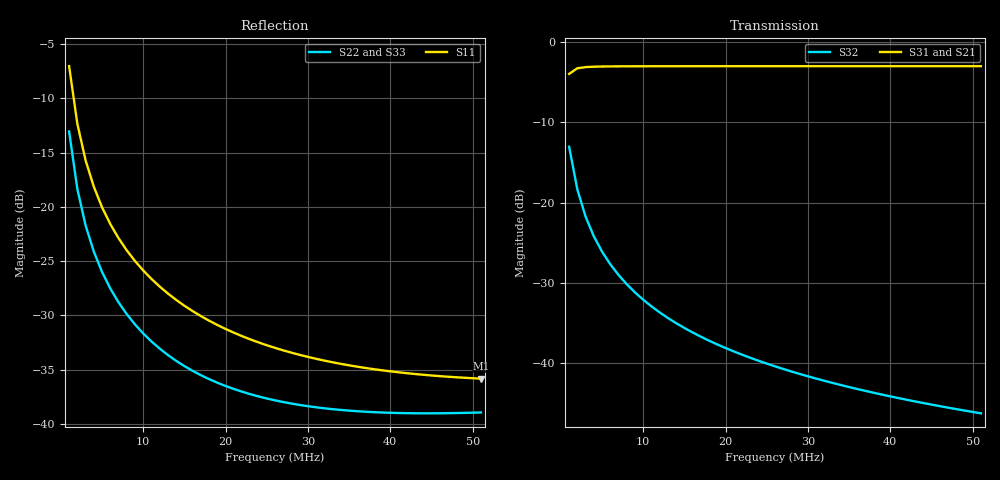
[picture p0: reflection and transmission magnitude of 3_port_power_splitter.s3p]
# MHz S RI R 50
! S-Parameters data
! Freq  reS11  imS11  reS12  imS12  reS13  imS13
!  reS21  imS21  reS22  imS22  reS23  imS23
!  reS31  imS31  reS32  imS32  reS33  imS33
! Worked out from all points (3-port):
!   51 points, 1 MHz to 51 MHz, reference 50 ohm
!   strongest paths, dB at 1 MHz, 13 MHz, 26 MHz, 39 MHz, 51 MHz:
!     S31: -4.0, -3.0, -3.0, -3.0, -3.0
!     S21: -4.0, -3.0, -3.0, -3.0, -3.0
!     S32: -13.0, -34.4, -40.4, -43.9, -46.2
!   lowest |S11| = -35.8 dB at 51 MHz (marker M1), VSWR 1.03, Z = 50 + j1.62 ohm
!   |S11| at or under -10 dB: 1.56 MHz to end of sweep
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1  -0.1983 0.3989  -0.5669 -0.2819  0.5669 0.2819
   -0.5669 -0.2819  -0.0992 0.1995  0.0992 -0.1994
   0.5669 0.2819  0.0992 -0.1994  -0.0992 0.1995
2  -0.0582 0.2345  -0.6659 -0.1654  0.6659 0.1654
   -0.6659 -0.1654  -0.0291 0.1174  0.0291 -0.1171
   0.6659 0.1654  0.0291 -0.1171  -0.0291 0.1174
3  -0.0267 0.1617  -0.6882 -0.1138  0.6882 0.1138
   -0.6882 -0.1138  -0.0134 0.0811  0.0134 -0.0807
   0.6882 0.1138  0.0134 -0.0807  -0.0134 0.0811
4  -0.0152 0.123  -0.6963 -0.0862  0.6963 0.0862
   -0.6963 -0.0862  -0.00763 0.0617  0.00763 -0.0612
   0.6963 0.0862  0.00763 -0.0612  -0.00763 0.0617
6  -0.0068 0.0831  -0.7023 -0.0577  0.7023 0.0577
   -0.7023 -0.0577  -0.00342 0.0419  0.00342 -0.0412
   0.7023 0.0577  0.00342 -0.0412  -0.00342 0.0419
8  -0.00382 0.0629  -0.7044 -0.0431  0.7044 0.0431
   -0.7044 -0.0431  -0.00194 0.032  0.00194 -0.031
   0.7044 0.0431  0.00194 -0.031  -0.00194 0.032
15  -0.00107 0.035  -0.7063 -0.0221  0.7063 0.0221
    -0.7063 -0.0221  -0.000558 0.0184  0.000562 -0.0166
    0.7063 0.0221  0.000562 -0.0166  -0.000558 0.0184
26  -0.00033 0.0224  -0.7068 -0.0112  0.7068 0.0112
    -0.7068 -0.0112  -0.000185 0.0128  0.000195 -0.00956
    0.7068 0.0112  0.000195 -0.00956  -0.000185 0.0128
37  -0.000134 0.0181  -0.707 -0.00622  0.707 0.00622
    -0.707 -0.00622  -8.12e-05 0.0114  0.000103 -0.00672
    0.707 0.00622  0.000103 -0.00672  -8.12e-05 0.0114
51  -2.9e-05 0.0162  -0.707 -0.00236  0.707 0.00236
    -0.707 -0.00236  -1.9e-05 0.0113  6.01e-05 -0.00488
    0.707 0.00236  6.01e-05 -0.00488  -1.9e-05 0.0113
